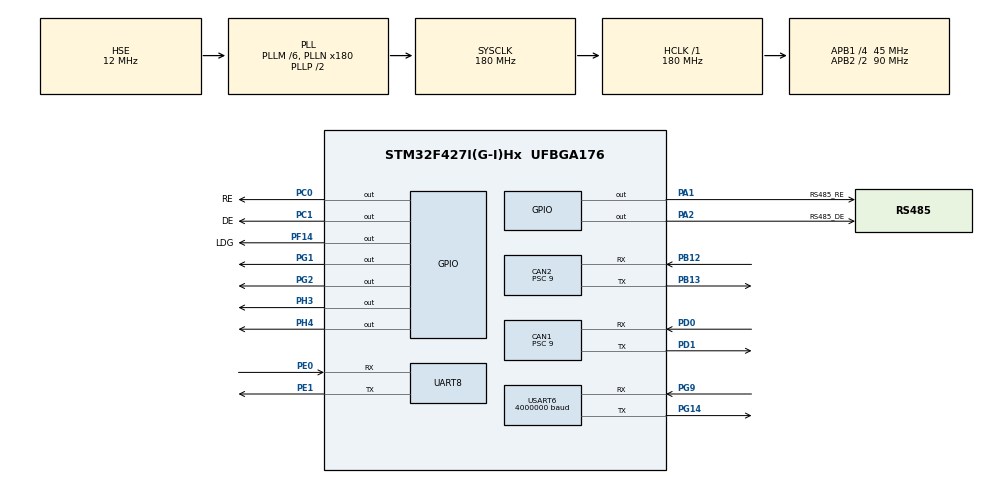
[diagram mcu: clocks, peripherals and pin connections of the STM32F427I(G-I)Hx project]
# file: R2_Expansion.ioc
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CAN1.ABOM=DISABLE
CAN1.BS1=CAN_BS1_3TQ
CAN1.CalculateBaudRate=1000000
CAN1.CalculateTimeBit=1000
CAN1.CalculateTimeQuantum=200.0
CAN1.Prescaler=9
CAN2.BS1=CAN_BS1_3TQ
CAN2.CalculateBaudRate=1000000
CAN2.CalculateTimeBit=1000
CAN2.CalculateTimeQuantum=200.0
CAN2.Prescaler=9
Dma.Request0=USART6_RX
Dma.USART6_RX.0.Direction=DMA_PERIPH_TO_MEMORY
Dma.USART6_RX.0.FIFOMode=DMA_FIFOMODE_DISABLE
Dma.USART6_RX.0.Instance=DMA2_Stream1
Dma.USART6_RX.0.MemDataAlignment=DMA_MDATAALIGN_BYTE
Dma.USART6_RX.0.MemInc=DMA_MINC_ENABLE
Dma.USART6_RX.0.Mode=DMA_NORMAL
Dma.USART6_RX.0.PeriphDataAlignment=DMA_PDATAALIGN_BYTE
Dma.USART6_RX.0.PeriphInc=DMA_PINC_DISABLE
Dma.USART6_RX.0.Priority=DMA_PRIORITY_HIGH
Mcu.Family=STM32F4
Mcu.Name=STM32F427I(G-I)Hx
Mcu.Package=UFBGA176
NVIC.CAN1_RX0_IRQn=true\:0\:0\:false\:false\:true\:true\:true\:true
NVIC.CAN2_RX0_IRQn=true\:0\:0\:false\:false\:true\:true\:true\:true
NVIC.DMA2_Stream1_IRQn=true\:0\:0\:false\:false\:true\:false\:true\:true
NVIC.PriorityGroup=NVIC_PRIORITYGROUP_4
PA1.GPIO_Label=RS485_RE
PA1.GPIO_Speed=GPIO_SPEED_FREQ_VERY_HIGH
PA1.Signal=GPIO_Output
PA13.Mode=Serial_Wire
PA13.Signal=SYS_JTMS-SWDIO
PA14.Mode=Serial_Wire
PA14.Signal=SYS_JTCK-SWCLK
PA2.GPIO_Label=RS485_DE
PA2.GPIO_Speed=GPIO_SPEED_FREQ_VERY_HIGH
PA2.Signal=GPIO_Output
PB12.Mode=CAN_Activate
PB12.Signal=CAN2_RX
PB13.Mode=CAN_Activate
PB13.Signal=CAN2_TX
PC0.GPIO_Label=RE
PC0.GPIO_Speed=GPIO_SPEED_FREQ_VERY_HIGH
PC0.Signal=GPIO_Output
PC1.GPIO_Label=DE
PC1.GPIO_Speed=GPIO_SPEED_FREQ_VERY_HIGH
PC1.Signal=GPIO_Output
PD0.Mode=CAN_Activate
PD0.Signal=CAN1_RX
PD1.Mode=CAN_Activate
PD1.Signal=CAN1_TX
PE0.Mode=Asynchronous
PE0.Signal=UART8_RX
PE1.Mode=Asynchronous
PE1.Signal=UART8_TX
PF14.GPIO_Label=LDG
PF14.GPIO_PuPd=GPIO_PULLDOWN
PF14.Signal=GPIO_Output
PG1.GPIO_PuPd=GPIO_NOPULL
PG1.PinState=GPIO_PIN_SET
PG1.Signal=GPIO_Output
PG14.Mode=Asynchronous
PG14.Signal=USART6_TX
PG2.PinState=GPIO_PIN_SET
PG2.Signal=GPIO_Output
PG9.Mode=Asynchronous
PG9.Signal=USART6_RX
PH0/OSC_IN.Mode=HSE-External-Oscillator
PH0/OSC_IN.Signal=RCC_OSC_IN
PH1/OSC_OUT.Mode=HSE-External-Oscillator
PH1/OSC_OUT.Signal=RCC_OSC_OUT
PH3.GPIO_PuPd=GPIO_NOPULL
PH3.PinState=GPIO_PIN_SET
PH3.Signal=GPIO_Output
PH4.PinState=GPIO_PIN_SET
PH4.Signal=GPIO_Output
ProjectManager.HeapSize=0x200
ProjectManager.StackSize=0x400
ProjectManager.TargetToolchain=Makefile
RCC.48MHZClocksFreq_Value=90000000
RCC.AHBFreq_Value=180000000
RCC.APB1CLKDivider=RCC_HCLK_DIV4
RCC.APB1Freq_Value=45000000
RCC.APB1TimFreq_Value=90000000
RCC.APB2CLKDivider=RCC_HCLK_DIV2
RCC.APB2Freq_Value=90000000
RCC.APB2TimFreq_Value=180000000
RCC.CortexFreq_Value=180000000
RCC.HCLKFreq_Value=180000000
RCC.HSE_VALUE=12000000
RCC.HSI_VALUE=16000000
RCC.LSE_VALUE=32768
RCC.PLLM=6
RCC.PLLN=180
RCC.PLLSourceVirtual=RCC_PLLSOURCE_HSE
RCC.SYSCLKFreq_VALUE=180000000
RCC.SYSCLKSource=RCC_SYSCLKSOURCE_PLLCLK
RCC.VCOOutputFreq_Value=360000000
UART8.VirtualMode=Asynchronous
USART6.BaudRate=4000000
USART6.VirtualMode=VM_ASYNC
board=custom

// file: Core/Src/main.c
/* USER CODE BEGIN Header */
/**
  ******************************************************************************
  * @file           : main.c
  * @brief          : Main program body
  ******************************************************************************
  * @attention
  *
  * Copyright (c) 2024 STMicroelectronics.
  * All rights reserved.
  *
  * This software is licensed under terms that can be found in the LICENSE file
  * in the root directory of this software component.
  * If no LICENSE file comes with this software, it is provided AS-IS.
  *
  ******************************************************************************
  */
/* USER CODE END Header */
#include "main.h"
#include "can.h"
#include "dma.h"
#include "usart.h"
#include "gpio.h"

/* USER CODE BEGIN Includes */
#include "DJI.h"
#include "wtr_can.h"
#include "Caculate.h"
#include "Expansion.h"
#include "Unitree_user.h"
#include "io_retargetToUart.h"
#include "encoder.h"
#include <stdio.h>
/* USER CODE END Includes */

void SystemClock_Config(void);

/* USER CODE BEGIN 0 */
  UnitreeMotor motor3;
  UnitreeMotor motor4;
/* USER CODE END 0 */

int main(void)
{

  /* MCU Configuration--------------------------------------------------------*/

  /* Reset of all peripherals, Initializes the Flash interface and the Systick. */
  HAL_Init();

  /* Configure the system clock */
  SystemClock_Config();

  /* Initialize all configured peripherals */
  MX_GPIO_Init();
  MX_DMA_Init();
  MX_CAN1_Init();
  MX_CAN2_Init();
  MX_USART6_UART_Init();
  MX_UART8_Init();
  /* USER CODE BEGIN 2 */
  CANFilterInit(&hcan1);
  CAN2FilterInit(&hcan2);
  Encoder_Init(&hcan2);
  for (uint8_t i = 0; i < 8; ++i) hDJI[i].motorType = M3508;
  DJI_Init();
  Expansion_Init();

  /*
  UnitreeMotor shootMotor;
  if (Unitree_init(&shootMotor, &huart6, 3) == HAL_OK) HAL_GPIO_WritePin(GPIOG, GPIO_PIN_1, GPIO_PIN_RESET);
  else HAL_GPIO_WritePin(GPIOG, GPIO_PIN_2, GPIO_PIN_RESET);
  Unitree_UART_tranANDrev(&shootMotor, 3, 1, 0, 0, 0, 0, 0);
  float startpos = shootMotor.data.Pos;
  HAL_GPIO_WritePin(GPIOH, GPIO_PIN_4, GPIO_PIN_SET);
  Expansion_Up.expand();
  //Expansion_Down.expand();
  */
 /*
 UnitreeMotor motor0;
 UnitreeMotor motor1;
 UnitreeMotor motor2;
 */

  float motor3POffset;
  float motor4POffset;
  /*
  if (Unitree_init(&motor0, &huart6, 0) == HAL_OK)
  {
    printf("1OK\n");
    HAL_Delay(10);
  }
  else
  {
    printf("1BAD\n");
    HAL_Delay(10);
  }
  if (Unitree_init(&motor1, &huart6, 1) == HAL_OK)
  {
    printf("1OK\n");
    HAL_Delay(10);
  }
  else
  {
    printf("1BAD\n");
    HAL_Delay(10);
  }
  if (Unitree_init(&motor2, &huart6, 2) == HAL_OK)
  {
    printf("1OK\n");
    HAL_Delay(10);
  }
  else
  {
    printf("1BAD\n");
    HAL_Delay(10);
  }
  */
  if (Unitree_init(&motor3, &huart6, 3) == HAL_OK)
  {
    printf("1OK\n");
    HAL_Delay(10);
  }
  else
  {
    printf("1BAD\n");
    HAL_Delay(10);
  }
  if (Unitree_init(&motor4, &huart6, 4) == HAL_OK)
  {
    printf("0OK\n");
    HAL_Delay(10);
    }
  else
  {
    printf("0BAD\n");
    HAL_Delay(10);
  }
  for (uint8_t i = 0; i < 10; ++i)
  {
    Unitree_UART_tranANDrev(&motor3, 3, 1, 0, 0, 0, 0, 0);
    Unitree_UART_tranANDrev(&motor4, 4, 1, 0, 0, 0, 0, 0);
    motor3POffset += motor3.data.Pos / UNITREE_REDUCTION_RATE;
    motor4POffset += motor4.data.Pos / UNITREE_REDUCTION_RATE;
  }
  motor3POffset /= 10;
  motor4POffset /= 10;
  HAL_Delay(200);

    while (caldata.angle > 30500)
    {
        Unitree_UART_tranANDrev(&motor3, 3, 1, -20, 0, 0, 0, 0);
        Unitree_UART_tranANDrev(&motor4, 4, 1, 20, 0, 0, 0, 0);
        HAL_Delay(2);
    }
    while (caldata.angle < 34000)
    {
        Unitree_UART_tranANDrev(&motor3, 3, 1, 0, 0, 0, 0, 0);
        Unitree_UART_tranANDrev(&motor4, 4, 1, -3, 0.2, motor4POffset, 0.8, 0.1);
        HAL_Delay(2);
    }

   HAL_Delay(500);
  /* USER CODE END 2 */
  /* Infinite loop */
  /* USER CODE BEGIN WHILE */
  while (1)
  {
    Unitree_UART_tranANDrev(&motor4, 4, 1, 0, 0, 0, 0, 0);
    HAL_Delay(2);
    //printf("123\n");

    /*
    //Expansion_Up.m_Angle = 10 * 360;
    //Expansion_Down.m_Angle = 360;
    //Expansion_Up.m_Angle = -360;

    Expansion_Executor();
    HAL_Delay(2);
    */
    /*
    Expansion_Up.m_Angle = 2 * 360;
    float DJI_Output_WithFC_Down[2];
    float DJI_Output_WithFC_Up[2];
    for (uint8_t i = 0; i < 2; ++i)
    {
        positionServo(Expansion_Down.m_Angle,   Expansion_Down.m_DJI + i);
        if((Expansion_Down.m_DJI + i)->speedPID.output > 100)
            DJI_Output_WithFC_Down[i] = (Expansion_Down.m_DJI + i)->speedPID.output + (Expansion_Down.m_DJI + i)->f_current;
        else if((Expansion_Down.m_DJI + i)->speedPID.output < -100)
            DJI_Output_WithFC_Down[i] = (Expansion_Down.m_DJI + i)->speedPID.output - (Expansion_Down.m_DJI + i)->f_current;
        else
            DJI_Output_WithFC_Down[i] = (Expansion_Down.m_DJI + i)->speedPID.output;

        positionServo(Expansion_Up.m_Angle,     Expansion_Up.m_DJI + i);
        if((Expansion_Down.m_DJI + i)->speedPID.output > 100)
            DJI_Output_WithFC_Up[i] = (Expansion_Up.m_DJI + i)->speedPID.output + (Expansion_Up.m_DJI + i)->f_current;
        else if((Expansion_Down.m_DJI + i)->speedPID.output < -100)
            DJI_Output_WithFC_Up[i] = (Expansion_Up.m_DJI + i)->speedPID.output - (Expansion_Up.m_DJI + i)->f_current;
        else
            DJI_Output_WithFC_Up[i] = (Expansion_Up.m_DJI + i)->speedPID.output;
    }
    CanTransmit_DJI_5678(&hcan1, DJI_Output_WithFC_Down[0], DJI_Output_WithFC_Down[1], DJI_Output_WithFC_Up[0], DJI_Output_WithFC_Up[1]);
    HAL_Delay(2);
    */
    /*
    float dji_output_withfc[8];
    for(int i=0;i<8;i++)
    {
        positionServo(10, &hDJI[4]);
        positionServo(10, &hDJI[5]);
        if(hDJI[i].speedPID.output>100)
            dji_output_withfc[i]=hDJI[i].speedPID.output+hDJI[i].f_current;
        else if(hDJI[i].speedPID.output<-100)
            dji_output_withfc[i]=hDJI[i].speedPID.output-hDJI[i].f_current;
        else
            dji_output_withfc[i]=hDJI[i].speedPID.output;
    }
    CanTransmit_DJI_1234(&hcan1,dji_output_withfc[0],dji_output_withfc[1],dji_output_withfc[2],dji_output_withfc[3]);
    CanTransmit_DJI_5678(&hcan1,dji_output_withfc[4],dji_output_withfc[5],dji_output_withfc[6],dji_output_withfc[7]);
    HAL_Delay(2);
    */
    /*
    float tran = -1.2 + shootMotor.cmd.K_P * (shootMotor.cmd.Pos - shootMotor.data.Pos) + shootMotor.cmd.K_W * (shootMotor.cmd.W - shootMotor.data.W);
    //Unitree_UART_tranANDrev(&shootMotor, 3, 1, tran, -0.5, -0.75, 0.3, 0.05); //前馈力矩-1
    Unitree_UART_tranANDrev(&shootMotor, 3, 1, tran, -0.5, startpos-2, 0.6, 0.045);
    //Unitree_UART_tranANDrev(&shootMotor, 3, 1, 0, -0.5, startpos-0.5, 0.1, 0.02);
    //Unitree_UART_tranANDrev(&shootMotor, 3, 1, 0, 0, 0, 0, 0);
    HAL_Delay(5);
    */
    /* USER CODE END WHILE */

  }
}

void SystemClock_Config(void)
{
  RCC_OscInitTypeDef RCC_OscInitStruct = {0};
  RCC_ClkInitTypeDef RCC_ClkInitStruct = {0};

  /** Configure the main internal regulator output voltage
  */
  __HAL_RCC_PWR_CLK_ENABLE();
  __HAL_PWR_VOLTAGESCALING_CONFIG(PWR_REGULATOR_VOLTAGE_SCALE1);

  /** Initializes the RCC Oscillators according to the specified parameters
  * in the RCC_OscInitTypeDef structure.
  */
  RCC_OscInitStruct.OscillatorType = RCC_OSCILLATORTYPE_HSE;
  RCC_OscInitStruct.HSEState = RCC_HSE_ON;
  RCC_OscInitStruct.PLL.PLLState = RCC_PLL_ON;
  RCC_OscInitStruct.PLL.PLLSource = RCC_PLLSOURCE_HSE;
  RCC_OscInitStruct.PLL.PLLM = 6;
  RCC_OscInitStruct.PLL.PLLN = 180;
  RCC_OscInitStruct.PLL.PLLP = RCC_PLLP_DIV2;
  RCC_OscInitStruct.PLL.PLLQ = 4;
  if (HAL_RCC_OscConfig(&RCC_OscInitStruct) != HAL_OK)
  {
    Error_Handler();
  }

  /** Activate the Over-Drive mode
  */
  if (HAL_PWREx_EnableOverDrive() != HAL_OK)
  {
    Error_Handler();
  }

  /** Initializes the CPU, AHB and APB buses clocks
  */
  RCC_ClkInitStruct.ClockType = RCC_CLOCKTYPE_HCLK|RCC_CLOCKTYPE_SYSCLK
                              |RCC_CLOCKTYPE_PCLK1|RCC_CLOCKTYPE_PCLK2;
  RCC_ClkInitStruct.SYSCLKSource = RCC_SYSCLKSOURCE_PLLCLK;
  RCC_ClkInitStruct.AHBCLKDivider = RCC_SYSCLK_DIV1;
  RCC_ClkInitStruct.APB1CLKDivider = RCC_HCLK_DIV4;
  RCC_ClkInitStruct.APB2CLKDivider = RCC_HCLK_DIV2;

  if (HAL_RCC_ClockConfig(&RCC_ClkInitStruct, FLASH_LATENCY_5) != HAL_OK)
  {
    Error_Handler();
  }
}

void Error_Handler(void)
{
  __disable_irq();
  while (1)
  {
  }
}
